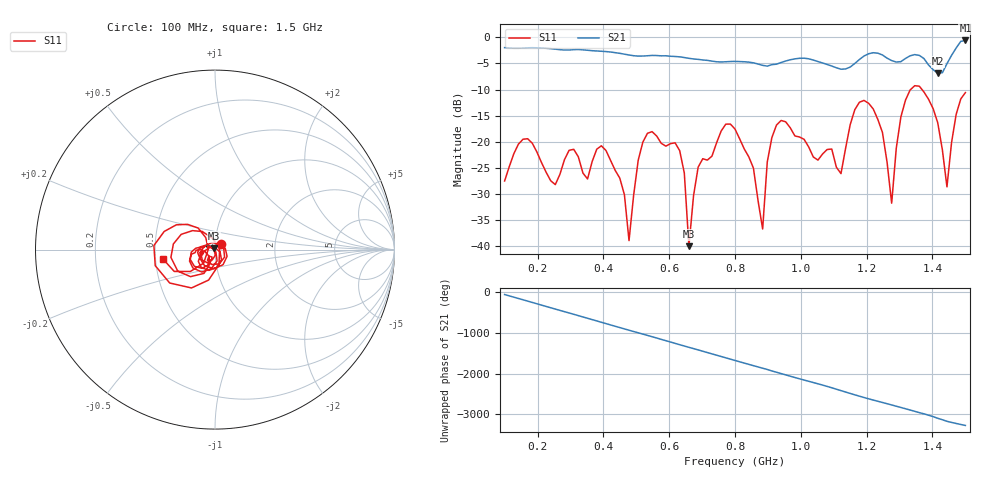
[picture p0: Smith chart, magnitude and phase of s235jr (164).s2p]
! NanoVNA-App
! Date: 2025-09-25 15:05:26
! Start: 100MHz Stop: 1,5GHz Points: 101
! S-Parameter data: F S11 S21 S12 S22
# Hz S RI R 50
!  Frequency  S11_Real  S11_Imag  S21_Real  S21_Imag  S12_Real  S12_Imag  S22_Real  S22_Imag
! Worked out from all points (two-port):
!   101 points, 100 MHz to 1.5 GHz, reference 50 ohm
!   highest |S21| = -0.59 dB at 1.5 GHz (marker M1); lowest = -6.8 dB at 1.416 GHz (marker M2)
!   |S21| within 3 dB of the highest: start of sweep to 600.4 MHz; 1.191 GHz to 1.253 GHz (61.58 MHz wide, 5.04 % of centre) (the widest 2 of 4)
!   lowest |S11| = -39.9 dB at 660 MHz (marker M3), VSWR 1.02, Z = 49.2 + j0.654 ohm
!   |S11| at or under -10 dB: start of sweep to 1.333 GHz; 1.368 GHz to end of sweep
!   S12 and S22 are empty: the file has one direction only
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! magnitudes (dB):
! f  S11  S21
! 100 MHz  -27.5  -2.0
! 170 MHz  -19.4  -2.0
! 338 MHz  -26.0  -2.4
! 408 MHz  -21.6  -2.7
! 478 MHz  -38.9  -3.4
! 520 MHz  -20.0  -3.6
! 576 MHz  -20.3  -3.5
! 632 MHz  -21.7  -3.7
! 660 MHz  -39.9  -4.0
! 688 MHz  -24.8  -4.2
! 800 MHz  -17.5  -4.6
! 884 MHz  -36.7  -5.4
! 926 MHz  -16.8  -5.1
! 1.038 GHz  -22.9  -4.3
! 1.122 GHz  -26.1  -6.1
! 1.192 GHz  -12.1  -3.6
! 1.248 GHz  -18.2  -3.4
! 1.276 GHz  -31.7  -4.4
! 1.332 GHz  -10.1  -3.5
! 1.416 GHz  -16.3  -6.8
! 1.444 GHz  -28.6  -5.0
! 1.5 GHz  -10.6  -0.6
